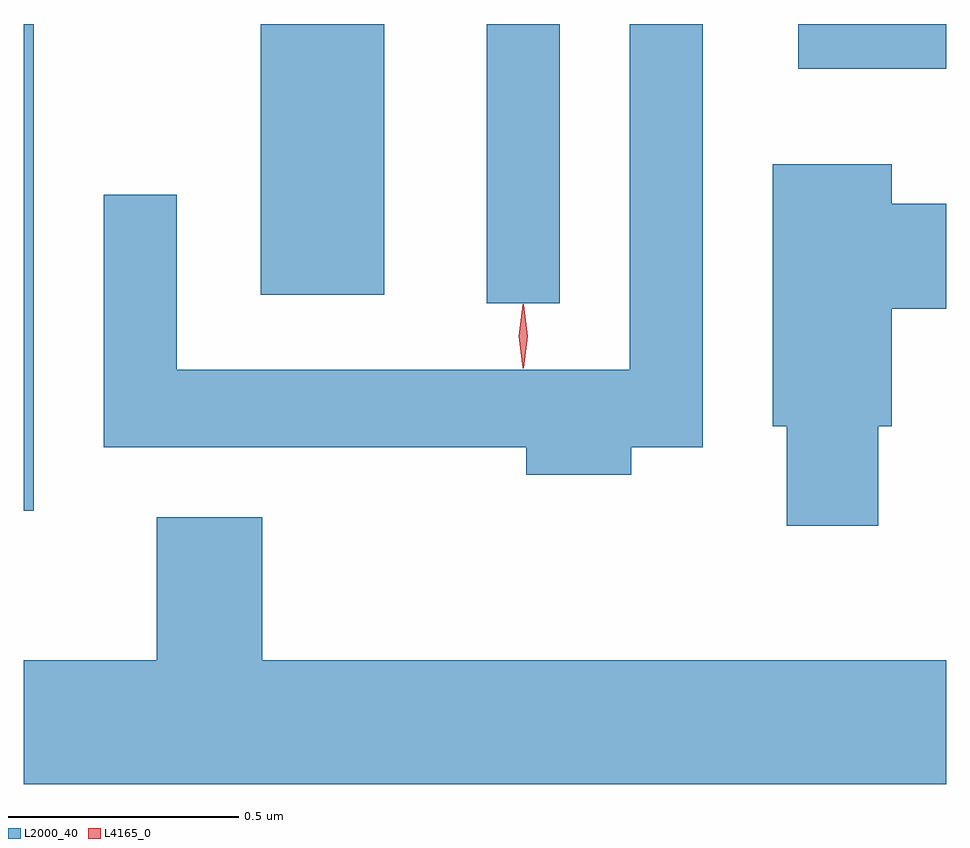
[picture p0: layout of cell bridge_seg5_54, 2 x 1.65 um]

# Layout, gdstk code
import gdstk
lib = gdstk.Library(unit=1e-6, precision=1e-09)
def R(c, l, rs):  # rectangles x0, y0, x1, y1
    for r in rs: c.add(gdstk.rectangle(r[:2], r[2:], *l))
def P(c, l, *ps):  # polygons
    for p in ps: c.add(gdstk.Polygon(p, *l))
L2000_40 = (2000, 40)
L4165_0 = (4165, 0)

bridge_seg5_54 = lib.new_cell('bridge_seg5_54')
R(bridge_seg5_54, L2000_40, [(1343.252,1472.928,1343.274,1473.983), (1344.256,1473.378,1344.414,1473.983), (1343.766,1473.396,1344.034,1473.983), (1344.931,1473.886,1345.252,1473.983)])
P(bridge_seg5_54, L2000_40, [(1344.569,1473.066),(1344.724,1473.066),(1344.724,1473.983),(1344.566,1473.983),(1344.566,1473.234),(1343.584,1473.234),(1343.584,1473.613),(1343.426,1473.613),(1343.426,1473.066),(1344.341,1473.066),(1344.341,1473.006),(1344.569,1473.006)],
  [(1345.104,1473.111),(1345.134,1473.111),(1345.134,1473.366),(1345.252,1473.366),(1345.252,1473.594),(1345.134,1473.594),(1345.134,1473.679),(1344.876,1473.679),(1344.876,1473.111),(1344.906,1473.111),(1344.906,1472.896),(1345.104,1472.896)],
  [(1345.252,1472.604),(1343.769,1472.604),(1343.769,1472.914),(1343.541,1472.914),(1343.541,1472.604),(1343.252,1472.604),(1343.252,1472.336),(1345.252,1472.336)])
P(bridge_seg5_54, L4165_0, [(1344.334,1473.237),(1344.325,1473.306),(1344.334,1473.376),(1344.335,1473.376),(1344.336,1473.376),(1344.345,1473.306),(1344.336,1473.237),(1344.335,1473.237)],
  [(1344.335,1473.239),(1344.334,1473.24),(1344.325,1473.306),(1344.334,1473.372),(1344.335,1473.373),(1344.335,1473.372),(1344.345,1473.306),(1344.335,1473.24)])

lib.write_gds('bridge_seg5_54.gds')
